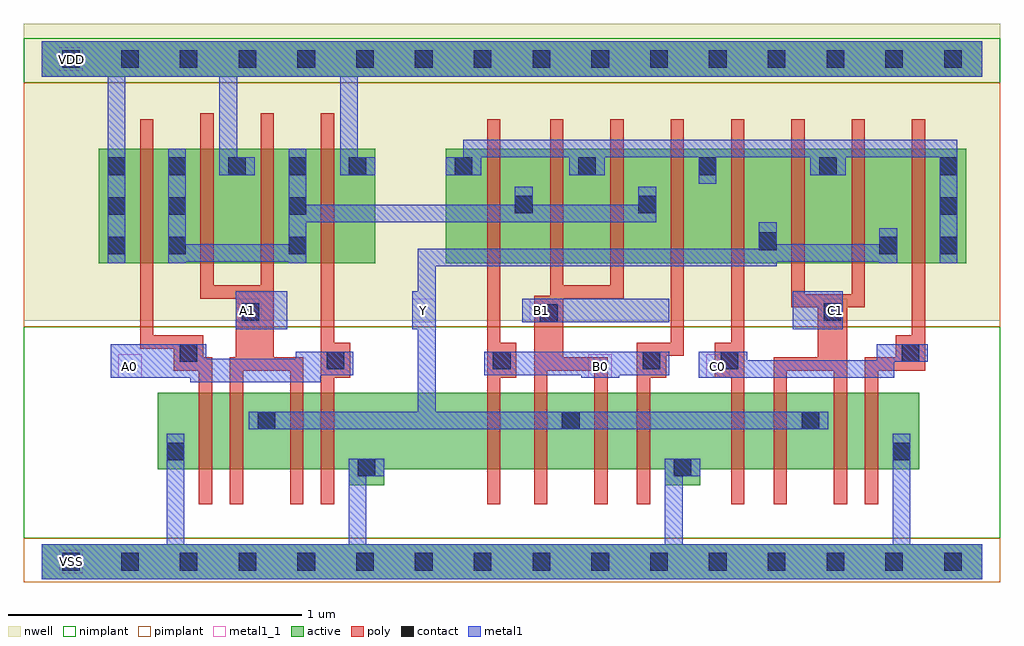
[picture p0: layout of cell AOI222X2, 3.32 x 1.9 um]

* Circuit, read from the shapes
.subckt AOI222X2 A0 A1 B0 B1 C0 C1 VDD VSS Y
M1 n1 A0 VSS VSS nfet w=0.26u l=0.045u
M2 Y A1 n1 VSS nfet w=0.26u l=0.045u
M3 n2 A1 Y VSS nfet w=0.26u l=0.045u
M4 VSS A0 n2 VSS nfet w=0.26u l=0.045u
M5 n3 B0 VSS VSS nfet w=0.26u l=0.045u
M6 Y B1 n3 VSS nfet w=0.26u l=0.045u
M7 n4 B1 Y VSS nfet w=0.26u l=0.045u
M8 VSS B0 n4 VSS nfet w=0.26u l=0.045u
M9 n5 C0 VSS VSS nfet w=0.26u l=0.045u
M10 Y C1 n5 VSS nfet w=0.26u l=0.045u
M11 n6 C1 Y VSS nfet w=0.26u l=0.045u
M12 VSS C0 n6 VSS nfet w=0.26u l=0.045u
M13 n7 A0 VDD VDD pfet w=0.39u l=0.045u m=2
M14 VDD A1 n7 VDD pfet w=0.39u l=0.045u m=2
M15 n7 B0 n8 VDD pfet w=0.39u l=0.045u m=2
M16 n8 B1 n7 VDD pfet w=0.39u l=0.045u m=2
M17 Y C0 n8 VDD pfet w=0.39u l=0.045u m=2
M18 n8 C1 Y VDD pfet w=0.39u l=0.045u m=2
.ends

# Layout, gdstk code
import gdstk
lib = gdstk.Library(unit=1e-6, precision=5e-10)
def R(c, l, rs):  # rectangles x0, y0, x1, y1
    for r in rs: c.add(gdstk.rectangle(r[:2], r[2:], *l))
def A(c, l, x, y, w, h, nx, ny, dx, dy):  # array of equal rectangles
    R(c, l, [(x+i*dx, y+j*dy, x+i*dx+w, y+j*dy+h) for i in range(nx) for j in range(ny)])
def P(c, l, *ps):  # polygons
    for p in ps: c.add(gdstk.Polygon(p, *l))
active = (1, 0)
nwell = (2, 0)
poly = (3, 0)
nimplant = (4, 0)
pimplant = (5, 0)
contact = (6, 0)
metal1 = (7, 0)
metal1_1 = (7, 1)

aoi222x2 = lib.new_cell('AOI222X2')
R(aoi222x2, active, [(0,-0.06,3.2,0.06), (0.195,1.015,1.135,1.405), (1.375,1.015,3.145,1.405), (0,1.65,3.2,1.77)])
P(aoi222x2, active, [(0.395,0.575),(2.985,0.575),(2.985,0.315),(2.24,0.315),(2.24,0.26),(2.12,0.26),(2.12,0.315),(1.165,0.315),(1.165,0.26),(1.045,0.26),(1.045,0.315),(0.395,0.315)])
R(aoi222x2, nwell, [(-0.06,0.82,3.26,1.83)])
P(aoi222x2, poly, [(0.335,1.505),(0.38,1.505),(0.38,0.77),(0.55,0.77),(0.55,0.695),(0.58,0.695),(0.58,0.195),(0.535,0.195),(0.535,0.65),(0.45,0.65),(0.45,0.725),(0.335,0.725)],
  [(0.54,1.525),(0.585,1.525),(0.585,0.94),(0.745,0.94),(0.745,1.525),(0.79,1.525),(0.79,0.695),(0.89,0.695),(0.89,0.195),(0.845,0.195),(0.845,0.65),(0.685,0.65),(0.685,0.195),(0.64,0.195),(0.64,0.695),(0.66,0.695),(0.66,0.895),(0.54,0.895)],
  [(0.95,1.525),(0.995,1.525),(0.995,0.745),(1.05,0.745),(1.05,0.625),(0.995,0.625),(0.995,0.195),(0.95,0.195)],
  [(1.515,1.505),(1.56,1.505),(1.56,0.745),(1.615,0.745),(1.615,0.625),(1.56,0.625),(1.56,0.195),(1.515,0.195)],
  [(1.73,1.505),(1.775,1.505),(1.775,0.94),(1.935,0.94),(1.935,1.505),(1.98,1.505),(1.98,0.895),(1.775,0.895),(1.775,0.695),(1.925,0.695),(1.925,0.195),(1.88,0.195),(1.88,0.65),(1.72,0.65),(1.72,0.195),(1.675,0.195),(1.675,0.905),(1.73,0.905)],
  [(2.14,1.505),(2.185,1.505),(2.185,0.7),(2.125,0.7),(2.125,0.625),(2.07,0.625),(2.07,0.195),(2.025,0.195),(2.025,0.745),(2.14,0.745)],
  [(2.345,1.505),(2.39,1.505),(2.39,0.195),(2.345,0.195),(2.345,0.625),(2.29,0.625),(2.29,0.745),(2.345,0.745)],
  [(2.55,1.505),(2.595,1.505),(2.595,0.91),(2.755,0.91),(2.755,1.505),(2.8,1.505),(2.8,0.865),(2.74,0.865),(2.74,0.195),(2.695,0.195),(2.695,0.65),(2.535,0.65),(2.535,0.195),(2.49,0.195),(2.49,0.695),(2.64,0.695),(2.64,0.865),(2.55,0.865)],
  [(2.96,1.505),(3.005,1.505),(3.005,0.65),(2.845,0.65),(2.845,0.195),(2.8,0.195),(2.8,0.695),(2.905,0.695),(2.905,0.77),(2.96,0.77)])
R(aoi222x2, nimplant, [(-0.06,0.08,3.26,0.8), (-0.06,1.63,3.26,1.78)])
R(aoi222x2, pimplant, [(-0.06,-0.07,3.26,0.08), (-0.06,0.8,3.26,1.63)])
A(aoi222x2, contact, 0.07, -0.03, 0.06, 0.06, 16, 2, 0.2, 1.71)
A(aoi222x2, contact, 0.225, 1.315, 0.06, 0.06, 5, 1, 0.205, 0)
A(aoi222x2, contact, 1.825, 1.315, 0.06, 0.06, 4, 1, 0.41, 0)
R(aoi222x2, contact, [(1.075,0.29,1.135,0.35), (2.15,0.29,2.21,0.35), (0.425,0.345,0.485,0.405), (2.895,0.345,2.955,0.405), (0.735,0.45,0.795,0.51), (1.77,0.45,1.83,0.51), (2.585,0.45,2.645,0.51), (0.97,0.655,1.03,0.715), (1.535,0.655,1.595,0.715), (2.045,0.655,2.105,0.715), (2.31,0.655,2.37,0.715), (0.47,0.68,0.53,0.74), (2.925,0.68,2.985,0.74), (1.695,0.815,1.755,0.875), (0.68,0.82,0.74,0.88), (2.66,0.82,2.72,0.88), (0.225,1.045,0.285,1.105), (0.43,1.045,0.49,1.105), (0.84,1.045,0.9,1.105), (2.85,1.045,2.91,1.105), (3.055,1.045,3.115,1.105), (2.44,1.06,2.5,1.12), (0.225,1.18,0.285,1.24), (0.43,1.18,0.49,1.24), (0.84,1.18,0.9,1.24), (3.055,1.18,3.115,1.24), (1.61,1.185,1.67,1.245), (2.03,1.185,2.09,1.245), (1.405,1.315,1.465,1.375)])
R(aoi222x2, metal1, [(0.66,0.79,0.835,0.92), (2.555,0.79,2.725,0.92), (1.635,0.815,2.135,0.895)])
P(aoi222x2, metal1, [(0,1.77),(3.2,1.77),(3.2,1.65),(1.075,1.65),(1.075,1.375),(1.135,1.375),(1.135,1.315),(1.015,1.315),(1.015,1.65),(0.665,1.65),(0.665,1.375),(0.725,1.375),(0.725,1.315),(0.605,1.315),(0.605,1.65),(0.285,1.65),(0.285,1.015),(0.225,1.015),(0.225,1.65),(0,1.65)],
  [(0.43,1.405),(0.49,1.405),(0.49,1.08),(0.84,1.08),(0.84,1.405),(0.9,1.405),(0.9,1.215),(1.61,1.215),(1.61,1.275),(1.67,1.275),(1.67,1.215),(2.03,1.215),(2.03,1.275),(2.09,1.275),(2.09,1.155),(0.9,1.155),(0.9,1.015),(0.84,1.015),(0.84,1.02),(0.49,1.02),(0.49,1.015),(0.43,1.015)],
  [(1.435,1.435),(3.115,1.435),(3.115,1.015),(3.055,1.015),(3.055,1.375),(2.735,1.375),(2.735,1.315),(2.615,1.315),(2.615,1.375),(2.295,1.375),(2.295,1.285),(2.235,1.285),(2.235,1.375),(1.915,1.375),(1.915,1.315),(1.795,1.315),(1.795,1.375),(1.495,1.375),(1.495,1.315),(1.375,1.315),(1.375,1.375),(1.435,1.375)],
  [(2.44,1.155),(2.5,1.155),(2.5,1.08),(2.85,1.08),(2.85,1.135),(2.91,1.135),(2.91,1.015),(2.85,1.015),(2.85,1.02),(2.5,1.02),(2.5,1.005),(1.34,1.005),(1.34,0.51),(2.675,0.51),(2.675,0.45),(0.705,0.45),(0.705,0.51),(1.28,0.51),(1.28,0.79),(1.26,0.79),(1.26,0.92),(1.28,0.92),(1.28,1.065),(2.44,1.065)],
  [(0.235,0.74),(0.56,0.74),(0.56,0.69),(0.865,0.69),(0.865,0.715),(1.06,0.715),(1.06,0.635),(0.95,0.635),(0.95,0.61),(0.505,0.61),(0.505,0.625),(0.235,0.625)],
  [(1.505,0.715),(2.135,0.715),(2.135,0.635),(1.965,0.635),(1.965,0.625),(1.835,0.625),(1.835,0.635),(1.505,0.635)],
  [(2.235,0.715),(2.4,0.715),(2.4,0.685),(2.84,0.685),(2.84,0.74),(3.015,0.74),(3.015,0.68),(2.9,0.68),(2.9,0.625),(2.235,0.625)],
  [(0.425,0.435),(0.485,0.435),(0.485,0.06),(1.045,0.06),(1.045,0.35),(1.165,0.35),(1.165,0.29),(1.105,0.29),(1.105,0.06),(2.12,0.06),(2.12,0.35),(2.24,0.35),(2.24,0.29),(2.18,0.29),(2.18,0.06),(2.895,0.06),(2.895,0.435),(2.955,0.435),(2.955,0.06),(3.2,0.06),(3.2,-0.06),(0,-0.06),(0,0.06),(0.425,0.06)])
R(aoi222x2, metal1_1, [(0.06,-0.04,0.14,0.04), (0.26,0.625,0.34,0.705), (1.86,0.625,1.94,0.705), (2.26,0.625,2.34,0.705), (0.66,0.815,0.74,0.895), (1.26,0.815,1.34,0.895), (1.66,0.815,1.74,0.895), (2.66,0.815,2.74,0.895), (0.06,1.67,0.14,1.75)])
aoi222x2.add(gdstk.Label('Y', (1.3,0.855), layer=7, texttype=1))
aoi222x2.add(gdstk.Label('B1', (1.7,0.855), layer=7, texttype=1))
aoi222x2.add(gdstk.Label('A1', (0.7,0.855), layer=7, texttype=1))
aoi222x2.add(gdstk.Label('C1', (2.7,0.855), layer=7, texttype=1))
aoi222x2.add(gdstk.Label('A0', (0.3,0.665), layer=7, texttype=1))
aoi222x2.add(gdstk.Label('B0', (1.9,0.665), layer=7, texttype=1))
aoi222x2.add(gdstk.Label('C0', (2.3,0.665), layer=7, texttype=1))
aoi222x2.add(gdstk.Label('VDD', (0.1,1.71), layer=7, texttype=1))
aoi222x2.add(gdstk.Label('VSS', (0.1,0), layer=7, texttype=1))
aoi222x2.add(gdstk.Label('AOI222X2', (0,0), layer=63, texttype=0))

lib.write_gds('AOI222X2.gds')
